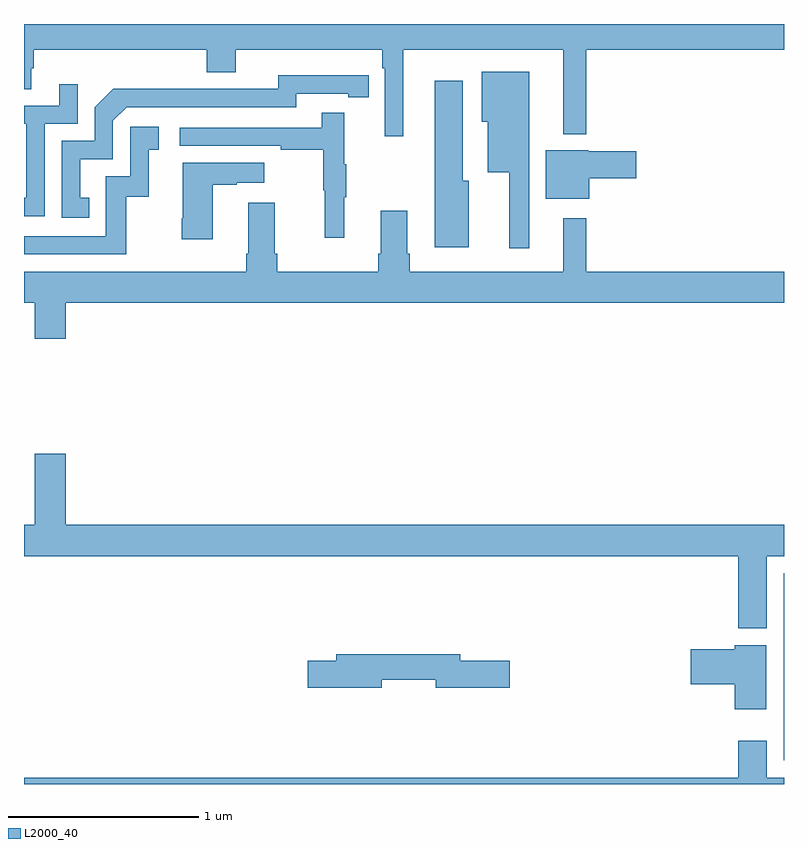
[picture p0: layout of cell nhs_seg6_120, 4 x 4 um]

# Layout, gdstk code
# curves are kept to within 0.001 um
import gdstk
lib = gdstk.Library(unit=1e-6, precision=1e-09)
def R(c, l, rs):  # rectangles x0, y0, x1, y1
    for r in rs: c.add(gdstk.rectangle(r[:2], r[2:], *l))
def P(c, l, *ps):  # polygons
    for p in ps: c.add(gdstk.Polygon(p, *l))
L2000_40 = (2000, 40)

nhs_seg6_120 = lib.new_cell('nhs_seg6_120')
R(nhs_seg6_120, L2000_40, [(120.999,915.624,121,916.608)])
P(nhs_seg6_120, L2000_40, [(118.996,919.364),(119.837,919.364),(119.837,918.92),(119.959,918.92),(119.959,919.364),(121,919.364),(121,919.5),(117,919.5),(117,919.156),(117.037,919.156),(117.037,919.266),(117.05,919.266),(117.05,919.364),(117.962,919.364),(117.962,919.247),(118.114,919.247),(118.114,919.364),(118.886,919.364),(118.886,919.268),(118.899,919.268),(118.899,918.909),(118.996,918.909)],
  [(119.659,919.249),(119.408,919.249),(119.408,918.986),(119.441,918.986),(119.441,918.719),(119.555,918.719),(119.555,918.321),(119.659,918.321)],
  [(117.344,918.585),(117.295,918.585),(117.295,918.789),(117.468,918.789),(117.468,918.99),(117.54,919.062),(118.434,919.062),(118.434,919.134),(118.706,919.134),(118.706,919.114),(118.814,919.114),(118.814,919.23),(118.338,919.231),(118.338,919.158),(117.878,919.158),(117.878,919.16),(117.47,919.16),(117.372,919.062),(117.372,918.885),(117.198,918.885),(117.198,918.48),(117.344,918.48)],
  [(119.341,918.676),(119.308,918.676),(119.308,919.201),(119.162,919.201),(119.162,918.324),(119.341,918.324)],
  [(117.108,918.975),(117.282,918.975),(117.282,919.183),(117.185,919.183),(117.185,919.071),(117,919.071),(117,918.975),(117.012,918.975),(117.012,918.586),(117,918.586),(117,918.489),(117.108,918.489)],
  [(118.685,918.587),(118.696,918.587),(118.696,918.761),(118.685,918.761),(118.685,919.033),(118.567,919.033),(118.567,918.954),(117.819,918.954),(117.819,918.858),(118.351,918.858),(118.351,918.838),(118.575,918.838),(118.575,918.624),(118.582,918.624),(118.582,918.375),(118.685,918.375)],
  [(117.538,918.591),(117.656,918.591),(117.656,918.837),(117.709,918.837),(117.709,918.958),(117.558,918.958),(117.558,918.699),(117.429,918.699),(117.429,918.384),(117,918.384),(117,918.288),(117.538,918.288)],
  [(119.974,918.688),(120.223,918.688),(120.223,918.83),(119.97,918.83),(119.97,918.835),(119.747,918.835),(119.747,918.581),(119.974,918.581)],
  [(117.994,918.655),(118.121,918.655),(118.121,918.665),(118.264,918.665),(118.264,918.769),(117.836,918.769),(117.836,918.478),(117.829,918.478),(117.829,918.366),(117.994,918.366)],
  [(117.22,918.032),(121,918.032),(121,918.196),(119.959,918.196),(119.959,918.478),(119.837,918.478),(119.837,918.196),(119.03,918.196),(119.03,918.292),(119.017,918.292),(119.017,918.517),(118.877,918.517),(118.877,918.292),(118.865,918.292),(118.865,918.196),(118.334,918.196),(118.334,918.292),(118.321,918.292),(118.321,918.559),(118.181,918.559),(118.181,918.292),(118.169,918.292),(118.169,918.196),(117,918.196),(117,918.032),(117.056,918.032),(117.056,917.844),(117.22,917.844)],
  [(120.91,916.7),(121,916.7),(121,916.864),(117.22,916.864),(117.22,917.239),(117.056,917.239),(117.056,916.864),(117,916.864),(117,916.7),(120.758,916.7),(120.758,916.32),(120.91,916.32)],
  [(120.907,916.231),(120.74,916.231),(120.74,916.208),(120.51,916.208),(120.51,916.025),(120.74,916.025),(120.74,915.894),(120.907,915.894)],
  [(118.882,916.048),(119.168,916.048),(119.168,916.006),(119.557,916.006),(119.557,916.148),(119.296,916.148),(119.296,916.184),(118.643,916.184),(118.643,916.148),(118.494,916.148),(118.494,916.006),(118.882,916.006)],
  [(121,915.532),(120.91,915.532),(120.91,915.727),(120.758,915.727),(120.758,915.532),(117,915.532),(117,915.5),(121,915.5)])

lib.write_gds('nhs_seg6_120.gds')
